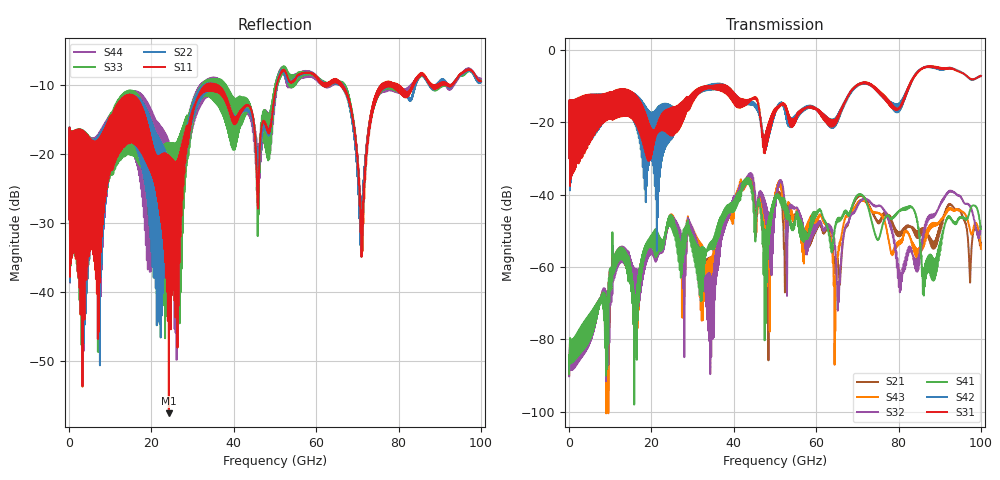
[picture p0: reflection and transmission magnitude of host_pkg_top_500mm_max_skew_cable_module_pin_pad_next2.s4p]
# Hz S RI R 50
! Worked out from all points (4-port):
!   10000 points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, 10 MHz to 100 GHz, reference 50 ohm
!   strongest paths, dB at 10 MHz, 25.01 GHz, 50.01 GHz, 75.01 GHz, 100 GHz:
!     S31: -29.9, -18.6, -16.2, -11.7, -7.2
!     S42: -29.9, -15.8, -16.8, -11.6, -7.2
!     S41: -89.6, -46.0, -40.5, -52.5, -49.5
!     S32: -90.2, -46.2, -41.9, -43.1, -49.0
!     S43: -89.9, -45.9, -39.9, -45.0, -55.0
!     S21: -89.9, -46.1, -42.1, -47.3, -53.5
!   lowest |S11| = -57.6 dB at 24.23 GHz (marker M1), VSWR 1.00, Z = 50.1 - j0.0127 ohm
!   |S11| at or under -10 dB: start of sweep to 33.4 GHz; 35.81 GHz to 50.42 GHz (14.6 GHz wide, 33.9 % of centre); 66.31 GHz to 75.78 GHz (9.475 GHz wide, 13.3 % of centre)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
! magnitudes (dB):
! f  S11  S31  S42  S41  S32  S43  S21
! 10 MHz  -29.5  -29.9  -29.9  -89.6  -90.2  -89.9  -89.9
! 24.23 GHz  -57.6  -22.6  -21.2  -47.5  -48.1  -47.8  -47.8
! 34.5 GHz  -10.9  -10.5  -10.9  -55.0  -74.4  -64.4  -60.5
! 44.01 GHz  -13.3  -14.1  -14.8  -36.0  -34.1  -35.1  -34.9
! 65.41 GHz  -9.7  -18.7  -19.2  -47.1  -67.9  -55.4  -59.5
! 71.46 GHz  -29.6  -9.2  -9.1  -40.5  -41.2  -41.7  -40.5
! 100 GHz  -9.5  -7.2  -7.2  -49.5  -49.0  -55.0  -53.5
